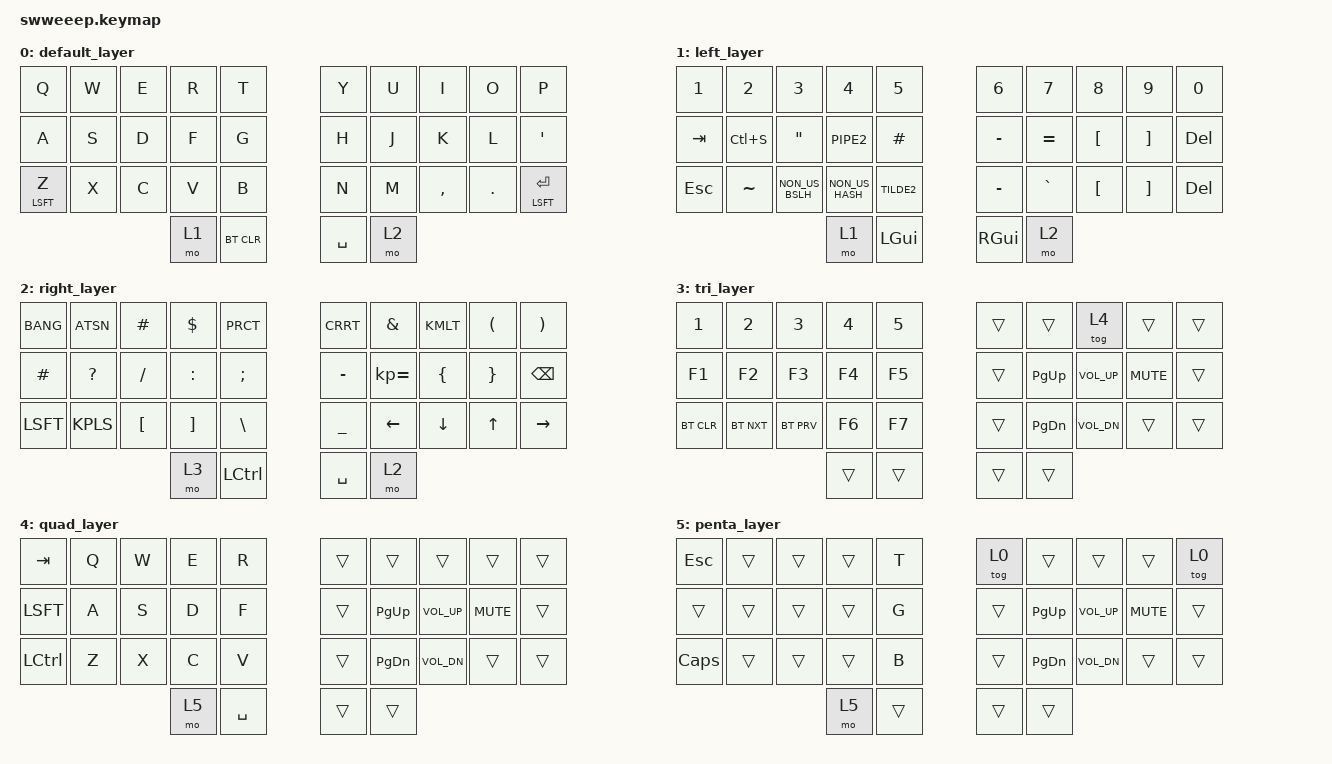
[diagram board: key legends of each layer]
#include <dt-bindings/zmk/keys.h>
#include <dt-bindings/zmk/bt.h>
#include <dt-bindings/zmk/outputs.h>


&mt {
  //  flavor = "tap-preferred";
   // tapping_term_ms = <200>;
};

/ { 
	/*
    combos {
        compatible = "zmk,combos";
        combo_esc {
            timeout-ms = <50>;
            key-positions = <0 1>;
            bindings = <&kp ESC>;
        };
        
         combo_tab {
            timeout-ms = <50>;
            key-positions = <10 11>;
            bindings = <&kp TAB>;
        };
        
            combo_ralt {
            timeout-ms = <50>;
            key-positions = <17 16>;
            bindings = <&kp RALT>;
        };
        
                    combo_lalt {
            timeout-ms = <50>;
            key-positions = <11 12>;
            bindings = <&kp LALT>;
        };
        
                           combo_lgui {
            timeout-ms = <50>;
            key-positions = <12 13>;
            bindings = <&kp LGUI>;
        };
        
        
           combo_rgui {
            timeout-ms = <50>;
            key-positions = <17 18>;
            bindings = <&kp RGUI>;
        };  
    };
	*/

        keymap {
                compatible = "zmk,keymap";
                
       		default_layer {
		bindings = <
		&kp Q &kp W &kp E &kp R &kp T 						&kp Y &kp U  &kp I    &kp O   &kp P 
		&kp A &kp S &kp D &kp F &kp G 			        	        &kp H &kp J &kp K &kp L &kp QUOT
		&mt LSFT Z &kp X &kp C &kp V &kp B				        &kp N &kp M  &kp CMMA &kp DOT &mt LSFT RET
          				&mo 1 &bt BT_CLR  				&kp SPC &mo 2 
		>;
		};

       		left_layer {
		bindings = <
		&kp NUM_1  &kp NUM_2    &kp NUM_3    &kp NUM_4    &kp NUM_5		&kp NUM_6 &kp NUM_7 &kp NUM_8 &kp NUM_9 &kp NUM_0 
		&kp TAB    &kp LC(S)    &kp DQT      &kp PIPE2     &kp HASH 		&kp MINUS &kp EQL  &kp LBKT &kp RBKT  &kp DEL 
		&kp ESC    &kp TILDE 	&kp NON_US_BSLH &kp NON_US_HASH  &kp TILDE2 	&kp MINUS &kp GRAVE &kp LBKT &kp RBKT  &kp DEL 
					    &mo 1  &kp LGUI  					&kp RGUI &mo 2 
		>;
		};
		
		right_layer {
		bindings = <
		&kp BANG  &kp ATSN &kp HASH  &kp DLLR  &kp PRCT    			&kp CRRT  &kp AMPS &kp KMLT &kp LPRN &kp RPRN 
		&kp HASH  &kp QMARK  &kp FSLH  &kp COLN  &kp SCLN 			&kp MINUS &kp KP_EQUAL  &kp LBRC  &kp RBRC   &kp BKSP
		&kp LSFT  &kp KPLS &kp LBKT &kp RBKT   &kp BSLH    			&kp UNDER &kp LEFT &kp DOWN &kp UP  &kp RIGHT
					  &mo 3 &kp LCTL  				&kp SPC  &mo 2 
		>;
		};	
		
		tri_layer {
		bindings = <
		&kp NUM_1  &kp NUM_2    &kp NUM_3    &kp NUM_4    &kp NUM_5 			&trans &trans   &tog 4   &trans  &trans
		&kp F1 &kp F2 &kp F3 &kp F4 &kp F5  						&trans &kp PG_UP  &kp K_VOL_UP &kp K_MUTE &trans 
		&bt BT_CLR  &bt BT_NXT &bt BT_PRV &kp F6 &kp F7   				&trans &kp PG_DN  &kp K_VOL_DN  &trans &trans   
					 &trans &trans  					&trans &trans 
		>;
		};

		/* GAMING LAYER */
        quad_layer {
		bindings = <    
		&kp TAB    &kp Q   &kp W    &kp E    &kp R  					&trans 	&trans   	&trans  	 	&trans  	&trans
		&kp LSFT   &kp A   &kp S    &kp D    &kp F  					&trans 	&kp PG_UP  	&kp K_VOL_UP 	&kp K_MUTE 	&trans 
		&kp LCTRL  &kp Z   &kp X    &kp C    &kp V   				    &trans 	&kp PG_DN  	&kp K_VOL_DN  	&trans 		&trans   
					 				&mo 5    &kp SPC  					&trans 	&trans 
		>;
		};

		/* GAMING LAYER */
		penta_layer {
		bindings = <    
		&kp ESC    &trans &trans &trans  &kp T  			&tog 0   &trans     &trans         &trans       &tog 0
		&trans    &trans &trans &trans  &kp G  			&trans   &kp PG_UP  &kp K_VOL_UP   &kp K_MUTE   &trans 
		&kp CAPS  &trans &trans &trans  &kp B   		&trans   &kp PG_DN  &kp K_VOL_DN   &trans       &trans   
					 &mo 5 &trans  					    &trans &trans 
		>;
		};	
        
	};
};
